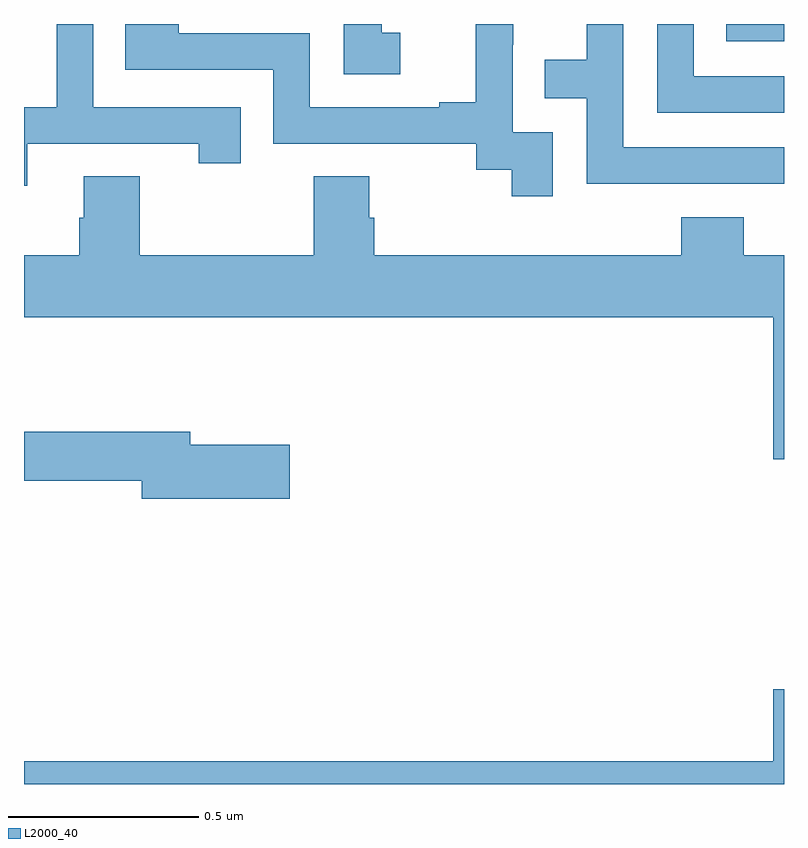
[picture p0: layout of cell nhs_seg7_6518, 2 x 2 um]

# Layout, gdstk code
import gdstk
lib = gdstk.Library(unit=1e-6, precision=1e-09)
def R(c, l, rs):  # rectangles x0, y0, x1, y1
    for r in rs: c.add(gdstk.rectangle(r[:2], r[2:], *l))
def P(c, l, *ps):  # polygons
    for p in ps: c.add(gdstk.Polygon(p, *l))
L2000_40 = (2000, 40)

nhs_seg7_6518 = lib.new_cell('nhs_seg7_6518')
R(nhs_seg7_6518, L2000_40, [(200.848,1055.954,201,1056)])
P(nhs_seg7_6518, L2000_40, [(199.009,1055.685),(199.46,1055.685),(199.46,1055.634),(199.571,1055.634),(199.571,1055.781),(199.182,1055.781),(199.182,1056),(199.086,1056),(199.086,1055.781),(199,1055.781),(199,1055.574),(199.009,1055.574)],
  [(199.99,1055.977),(199.941,1055.977),(199.941,1056),(199.842,1056),(199.842,1055.868),(199.99,1055.868)],
  [(201,1055.676),(200.577,1055.676),(200.577,1056),(200.481,1056),(200.481,1055.906),(200.371,1055.906),(200.371,1055.805),(200.481,1055.805),(200.481,1055.58),(200.977,1055.58),(200.977,1055.579),(201,1055.579)],
  [(200.391,1055.715),(200.286,1055.715),(200.286,1055.945),(200.288,1055.945),(200.288,1056),(200.189,1056),(200.189,1055.794),(200.093,1055.794),(200.093,1055.781),(199.752,1055.781),(199.752,1055.976),(199.407,1055.976),(199.407,1056),(199.267,1056),(199.267,1055.88),(199.656,1055.88),(199.656,1055.685),(200.19,1055.685),(200.19,1055.617),(200.283,1055.617),(200.283,1055.547),(200.391,1055.547)],
  [(201,1055.862),(200.763,1055.862),(200.763,1056),(200.667,1056),(200.667,1055.766),(201,1055.766)],
  [(201,1055.392),(200.894,1055.392),(200.894,1055.491),(200.729,1055.491),(200.729,1055.392),(199.922,1055.392),(199.922,1055.49),(199.909,1055.49),(199.909,1055.6),(199.762,1055.6),(199.762,1055.392),(199.305,1055.392),(199.305,1055.6),(199.157,1055.6),(199.157,1055.49),(199.145,1055.49),(199.145,1055.392),(199,1055.392),(199,1055.228),(200.972,1055.228),(200.972,1054.854),(201,1054.854)],
  [(199.699,1054.893),(199.438,1054.893),(199.438,1054.927),(199,1054.927),(199,1054.798),(199.31,1054.798),(199.31,1054.751),(199.699,1054.751)],
  [(201,1054.249),(200.972,1054.249),(200.972,1054.06),(199,1054.06),(199,1054),(201,1054)])

lib.write_gds('nhs_seg7_6518.gds')
